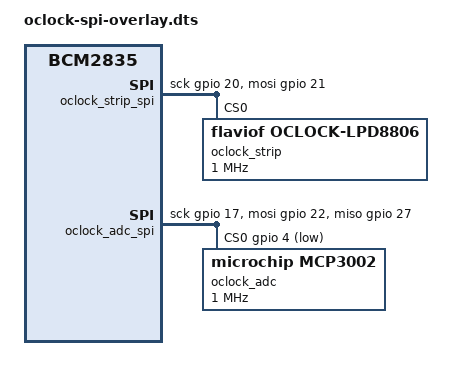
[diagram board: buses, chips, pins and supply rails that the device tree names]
// SPDX-License-Identifier: MIT

/*
 * Disabled-by-default Phase 5 overlay for the unchanged Office Clock wiring.
 *
 * GPIO 20/21 become a transmit-only spi-gpio controller for the LPD8806.
 * GPIO 17/27/22/4 become a full-duplex spi-gpio controller for the MCP3002.
 *
 * The LPD8806 compatible is intentionally project-owned. Modern spidev
 * rejects compatible = "spidev", and borrowing another product's identifier
 * would misdescribe the hardware. A guarded trial must explicitly bind this
 * node to spidev with driver_override after boot.
 */

/dts-v1/;
/plugin/;

/ {
	compatible = "brcm,bcm2835";

	fragment@0 {
		target-path = "/";

		__overlay__ {
			oclock_strip_spi: oclock-strip-spi {
				compatible = "spi-gpio";
				#address-cells = <1>;
				#size-cells = <0>;
				num-chipselects = <0>;
				sck-gpios = <&gpio 20 0>;
				mosi-gpios = <&gpio 21 0>;
				status = "okay";

				oclock_strip: lpd8806@0 {
					compatible = "flaviof,oclock-lpd8806";
					reg = <0>;
					spi-max-frequency = <1000000>;
				};
			};
		};
	};

	fragment@1 {
		target-path = "/";

		__overlay__ {
			oclock_adc_spi: oclock-adc-spi {
				compatible = "spi-gpio";
				#address-cells = <1>;
				#size-cells = <0>;
				num-chipselects = <1>;
				sck-gpios = <&gpio 17 0>;
				miso-gpios = <&gpio 27 0>;
				mosi-gpios = <&gpio 22 0>;
				cs-gpios = <&gpio 4 1>;
				status = "okay";

				oclock_adc: mcp3002@0 {
					compatible = "microchip,mcp3002";
					reg = <0>;
					spi-max-frequency = <1000000>;
				};
			};
		};
	};
};
